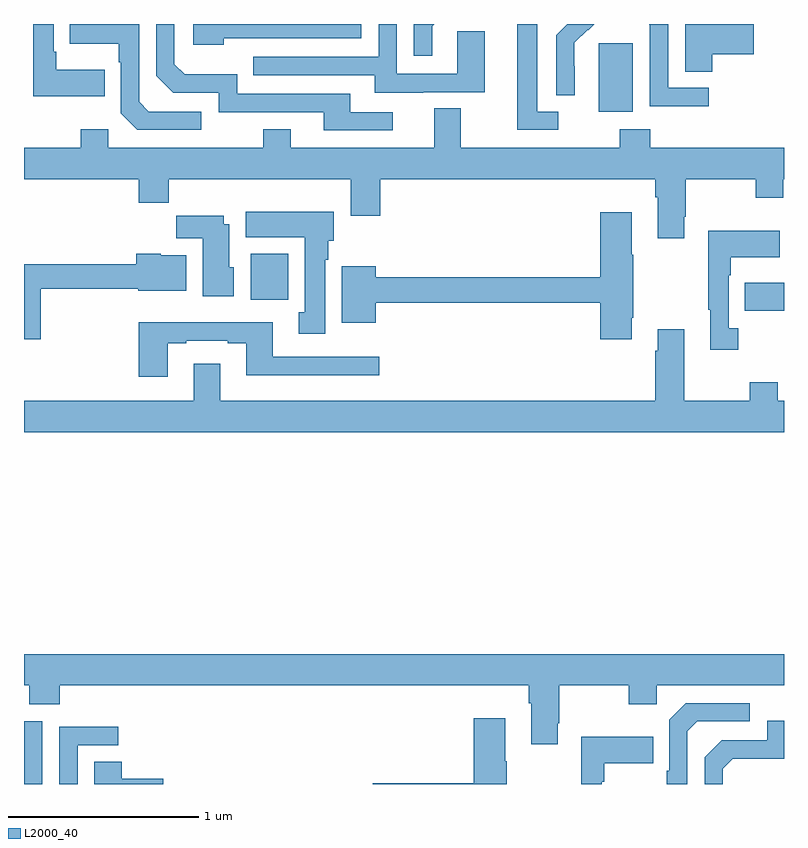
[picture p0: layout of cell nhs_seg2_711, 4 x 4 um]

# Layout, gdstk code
import gdstk
lib = gdstk.Library(unit=1e-6, precision=1e-09)
def R(c, l, rs):  # rectangles x0, y0, x1, y1
    for r in rs: c.add(gdstk.rectangle(r[:2], r[2:], *l))
def P(c, l, *ps):  # polygons
    for p in ps: c.add(gdstk.Polygon(p, *l))
L2000_40 = (2000, 40)

nhs_seg2_711 = lib.new_cell('nhs_seg2_711')
R(nhs_seg2_711, L2000_40, [(147,629.8,147.097,630.13), (150.793,632.29,151,632.437), (148.193,632.348,148.39,632.59), (150.026,633.338,150.205,633.699)])
P(nhs_seg2_711, L2000_40, [(149.812,633.339),(149.701,633.339),(149.701,633.8),(149.597,633.8),(149.597,633.243),(149.812,633.243)],
  [(149.898,633.578),(149.897,633.578),(149.897,633.701),(149.967,633.771),(149.97,633.768),(150.002,633.8),(149.86,633.8),(149.802,633.742),(149.802,633.424),(149.898,633.424)],
  [(148.052,633.726),(148.776,633.726),(148.776,633.8),(147.891,633.8),(147.891,633.692),(148.052,633.692)],
  [(150.604,633.465),(150.39,633.465),(150.39,633.8),(150.292,633.8),(150.292,633.796),(150.294,633.796),(150.294,633.367),(150.604,633.367)],
  [(148.942,633.336),(148.717,633.336),(148.717,633.432),(148.122,633.432),(148.122,633.535),(147.845,633.535),(147.792,633.588),(147.792,633.8),(147.696,633.8),(147.696,633.528),(147.786,633.438),(148.026,633.438),(148.026,633.336),(148.577,633.336),(148.577,633.24),(148.942,633.24)],
  [(149.149,633.789),(149.16,633.8),(149.052,633.8),(149.052,633.633),(149.149,633.633)],
  [(147.934,633.339),(147.657,633.339),(147.606,633.39),(147.606,633.8),(147.241,633.8),(147.241,633.695),(147.498,633.695),(147.498,633.599),(147.51,633.599),(147.51,633.33),(147.597,633.243),(147.934,633.243)],
  [(150.623,633.641),(150.841,633.641),(150.841,633.8),(150.479,633.8),(150.479,633.55),(150.623,633.55)],
  [(149.101,633.441),(149.425,633.441),(149.425,633.761),(149.28,633.761),(149.28,633.537),(148.962,633.537),(148.962,633.8),(148.866,633.8),(148.866,633.627),(148.207,633.627),(148.207,633.531),(148.847,633.531),(148.847,633.437),(149.101,633.437)],
  [(147.425,633.559),(147.169,633.559),(147.169,633.655),(147.156,633.655),(147.156,633.8),(147.048,633.8),(147.048,633.419),(147.425,633.419)],
  [(150.296,633.247),(150.136,633.247),(150.136,633.148),(149.299,633.148),(149.299,633.356),(149.159,633.356),(149.159,633.148),(148.405,633.148),(148.405,633.247),(148.258,633.247),(148.258,633.148),(147.444,633.148),(147.444,633.247),(147.298,633.247),(147.298,633.148),(147,633.148),(147,632.984),(147.605,632.984),(147.605,632.86),(147.761,632.86),(147.761,632.984),(148.721,632.984),(148.721,632.79),(148.874,632.79),(148.874,632.984),(150.323,632.984),(150.323,632.888),(150.335,632.888),(150.335,632.673),(150.475,632.673),(150.475,632.785),(150.483,632.785),(150.483,632.984),(150.85,632.984),(150.85,632.885),(150.996,632.885),(150.996,632.984),(151,632.984),(151,633.148),(150.296,633.148)],
  [(148.585,632.558),(148.6,632.558),(148.6,632.658),(148.63,632.658),(148.63,632.812),(148.166,632.812),(148.166,632.678),(148.478,632.678),(148.478,632.282),(148.445,632.282),(148.445,632.169),(148.585,632.169)],
  [(150.199,632.254),(150.207,632.254),(150.207,632.585),(150.199,632.585),(150.199,632.809),(150.032,632.809),(150.032,632.468),(148.852,632.468),(148.852,632.524),(148.673,632.524),(148.673,632.228),(148.852,632.228),(148.852,632.332),(150.032,632.332),(150.032,632.142),(150.199,632.142)],
  [(148.105,632.52),(148.081,632.52),(148.081,632.746),(148.051,632.746),(148.051,632.791),(147.802,632.791),(147.802,632.672),(147.941,632.672),(147.941,632.366),(148.105,632.366)],
  [(150.76,632.198),(150.708,632.198),(150.708,632.477),(150.721,632.477),(150.721,632.573),(150.977,632.573),(150.977,632.713),(150.6,632.713),(150.6,632.297),(150.611,632.297),(150.611,632.085),(150.76,632.085)],
  [(147.089,632.407),(147.602,632.407),(147.602,632.396),(147.853,632.396),(147.853,632.584),(147.72,632.584),(147.72,632.59),(147.59,632.59),(147.59,632.536),(147,632.536),(147,632.142),(147.089,632.142)],
  [(147.757,632.121),(147.853,632.121),(147.853,632.133),(148.073,632.133),(148.073,632.121),(148.169,632.121),(148.169,631.952),(148.87,631.952),(148.87,632.049),(148.309,632.049),(148.309,632.23),(147.605,632.23),(147.605,631.944),(147.757,631.944)],
  [(151,631.816),(150.967,631.816),(150.967,631.915),(150.82,631.915),(150.82,631.816),(150.475,631.816),(150.475,632.194),(150.335,632.194),(150.335,632.081),(150.323,632.081),(150.323,631.816),(148.033,631.816),(148.033,632.011),(147.893,632.011),(147.893,631.816),(147,631.816),(147,631.652),(151,631.652)],
  [(149.809,630.121),(149.817,630.121),(149.817,630.32),(150.184,630.32),(150.184,630.221),(150.33,630.221),(150.33,630.32),(151,630.32),(151,630.484),(147,630.484),(147,630.32),(147.028,630.32),(147.028,630.221),(147.188,630.221),(147.188,630.32),(149.657,630.32),(149.657,630.224),(149.669,630.224),(149.669,630.009),(149.809,630.009)],
  [(150.492,630.078),(150.543,630.129),(150.82,630.129),(150.82,630.225),(150.483,630.225),(150.396,630.138),(150.396,629.869),(150.384,629.869),(150.384,629.8),(150.492,629.8)],
  [(149.541,629.921),(149.533,629.921),(149.533,630.145),(149.366,630.145),(149.366,629.804),(148.835,629.804),(148.835,629.8),(149.541,629.8)],
  [(150.678,629.88),(150.731,629.933),(151,629.933),(151,630.132),(150.912,630.132),(150.912,630.03),(150.672,630.03),(150.582,629.94),(150.582,629.8),(150.678,629.8)],
  [(147.282,630.003),(147.496,630.003),(147.496,630.102),(147.186,630.102),(147.186,629.8),(147.282,629.8)],
  [(150.042,629.813),(150.055,629.813),(150.055,629.909),(150.311,629.909),(150.311,630.049),(149.934,630.049),(149.934,629.8),(150.042,629.8)],
  [(147.733,629.828),(147.515,629.828),(147.515,629.918),(147.371,629.918),(147.371,629.8),(147.733,629.8)])

lib.write_gds('nhs_seg2_711.gds')
